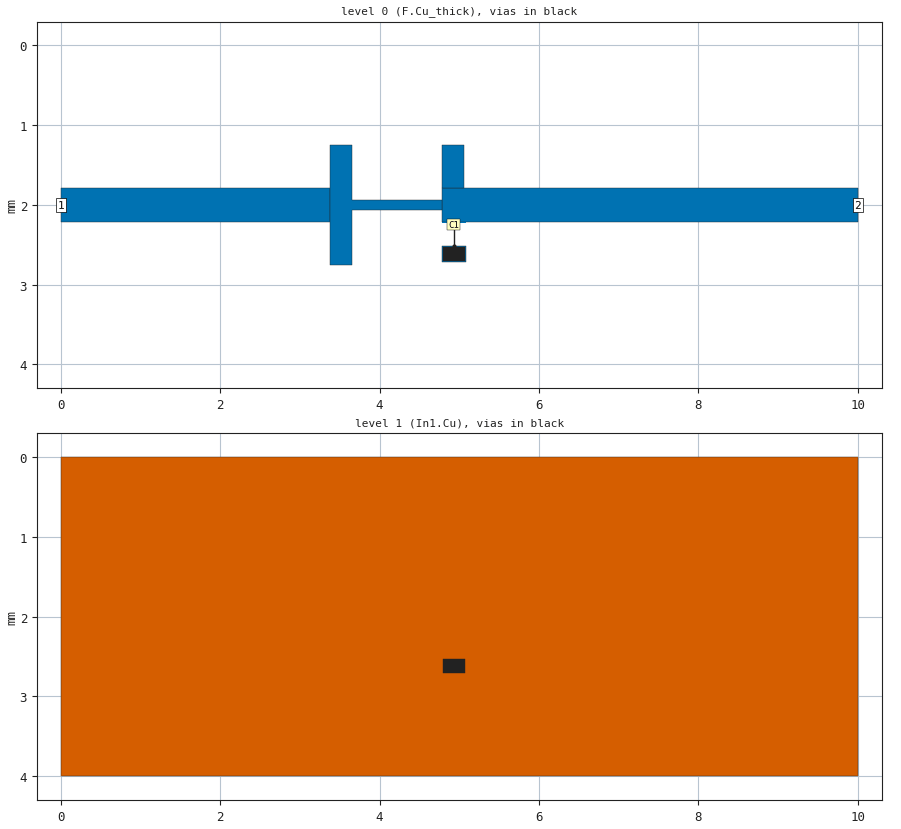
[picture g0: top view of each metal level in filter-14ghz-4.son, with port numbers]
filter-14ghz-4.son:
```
FTYP SONPROJ 19 ! Sonnet Project File
VER 18.56
HEADER
LIC antikernel2.1.52448
DAT 05/25/2023 14:36:34
BUILT_BY_CREATED xgeom 18.54 09/23/2022 20:17:08
BUILT_BY_SAVED sonnet 18.56
MDATE 05/25/2023 14:26:51
HDATE 05/25/2023 14:26:51
ANN Created by dxfgeo, Sonnet Software Inc.
END HEADER
DIM
ANG DEG
CAP FF
CON /OH
FREQ GHZ
IND PH
LNG MM
RES OH
END DIM
CONTROL
VARSWP
OPTIONS  -dj
SPEED 0
CACHE_ABS 2
Q_ACC N
END CONTROL
GEO
DRP1 LEFT FIX 3
DRP1 RIGHT FIX 3
TMET "Free Space" 0 FREESPACE 376.7303136 0 0 0
BMET "Free Space" 0 FREESPACE 376.7303136 0 0 0
MET "Copper_1oz+plated_thick_up" 1 TMM 58000000 0.5 0.0432 2
MET "Copper_1oz+plated_thin" 4 NOR 58000000 0.5 0.0432 
MET "Copper_0.5oz_thin" 2 NOR 58000000 0.5 0.0175 
MET "Copper_1oz+plated_thick_down" 3 TMM 58000000 0.5 0.0432 2 CDVY TDWN
MET "Copper 35um" 1 VOL 58000000 0.035
BOX 4 10 4 2000 640 20 0
      10 1 1 0 0 0 0 "Air"
      0.2021 3.61 1 0.0092 0 0 0 "Isola_FR408HR"
      1.1938 3.61 1 0.0092 0 0 0 "Isola_FR408HR"
      0.2021 3.61 1 0.0092 0 0 0 "Isola_FR408HR"
      10 1 1 0 0 0 0 "Air"
TECHLAY VIA Via1 L3D0 -7 -65534 CAD Via1 drawing 
VIA POLYGON
0 0 4 N 486 1 1 100 100 0 0 0 Y
TOLEVEL 3 RING NOCOVERS
END
END
TECHLAY METAL F.Cu_thick L1D0 -1 -65534 CAD F.Cu drawing 
0 0 0 N 299 1 1 100 100 0 0 0 Y
END
END
TECHLAY METAL F.Cu_thin <UNSPECIFIED> -2 -65534 CAD F.Cu_thin drawing 
0 0 1 N 303 1 1 100 100 0 0 0 Y
END
END
TECHLAY METAL In1.Cu L2D0 -3 -65534 CAD In1.Cu drawing 
1 0 2 N 306 1 1 100 100 0 0 0 Y
END
END
TECHLAY METAL In2.Cu <UNSPECIFIED> -4 -65534 CAD In2.Cu drawing 
2 0 2 N 309 1 1 100 100 0 0 0 Y
END
END
TECHLAY METAL B.Cu_thick <UNSPECIFIED> -5 -65534 CAD B.Cu drawing 
3 0 3 N 312 1 1 100 100 0 0 0 Y
END
END
TECHLAY METAL B.Cu_thin <UNSPECIFIED> -6 -65534 CAD B.Cu_thin drawing 
3 0 1 N 314 1 1 100 100 0 0 0 Y
END
END
DIM STD YDIR 1
POS 0.2338271224 0.04310021686
NOM 0.125
REF1 POLY 436 1
2
REF2 POLY 436 1
1
END
DIM STD XDIR 1
POS 1.000643168 -0.0988658826
NOM 1.12
REF1 POLY 436 1
3
REF2 POLY 436 1
2
END
DIM STD XDIR 1
POS 0.228016479 -0.07618273861
NOM 0.28
REF1 POLY 436 1
5
REF2 POLY 436 1
4
END
DIM STD YDIR 1
POS -0.204806995 1.322702729
NOM 1.5
REF1 POLY 436 1
5
REF2 POLY 436 1
6
END
LORGN 0 4 U 
POR1 BOX
POLY 396 1
3
1 50 0 0 0 0 2 
POR1 BOX
POLY 399 1
1
2 50 0 0 0 10 2 
SMD 0 "C1"
ID 447
GNDREF AUTO
SBOX 4.855 5.005 2.2875 2.4375
PBSHW N
LPOS 4.93 2.2875
TYPE SPARAM 1
SMDP 0 4.93 2.5125 B 3 1 
EXSMDP
GNDREF AUTO
TERMW FEED
END EXSMDP
SMDP 0 4.93 2.225 T 4 2 
EXSMDP
GNDREF AUTO
TERMW FEED
END EXSMDP
END
NUM 8
VIA POLYGON
0 5 4 N 443 1 1 100 100 0 0 0 Y
TOLEVEL 3 RING NOCOVERS
TLAYNAM Via1 INH
4.79 2.525
5.07 2.525
5.07 2.7
4.79 2.7
4.79 2.525
END
0 5 0 N 396 1 1 100 100 0 0 0 Y
TLAYNAM F.Cu_thick INH
0 1.7875
3.38 1.7875
3.38 2.2125
0 2.2125
0 1.7875
END
0 5 0 N 399 1 1 100 100 0 0 0 Y
TLAYNAM F.Cu_thick INH
4.78 1.7875
10 1.7875
10 2.2125
4.78 2.2125
4.78 1.7875
END
0 9 0 N 436 1 1 100 100 0 0 0 Y
TLAYNAM F.Cu_thick INH
3.66 2.0625
4.78 2.0625
4.78 1.9375
3.66 1.9375
3.66 1.25
3.38 1.25
3.38 2.75
3.66 2.75
3.66 2.0625
END
0 5 0 N 446 1 1 100 100 0 0 0 Y
TLAYNAM F.Cu_thick INH
4.78 2.5125
5.08 2.5125
5.08 2.7125
4.78 2.7125
4.78 2.5125
END
0 5 0 N 452 1 1 100 100 0 0 0 Y
TLAYNAM F.Cu_thick INH
4.78 2.2125
5.08 2.2125
5.08 2.225
4.78 2.225
4.78 2.2125
END
0 5 0 N 498 1 1 100 100 0 0 0 Y
TLAYNAM F.Cu_thick INH
4.78 1.25
5.06 1.25
5.06 1.7875
4.78 1.7875
4.78 1.25
END
1 5 2 N 133 1 1 100 100 0 0 0 Y
TLAYNAM In1.Cu INH
0 0
10 0
10 4
0 4
0 0
END
END GEO
OPT
MAX 100
END OPT
VARSWP
ENABLED Y
FREQ Y AY ABS_ENTRY 0.1 20.0 -1 300 
END
END VARSWP
SMDFILES
1 "../../../../../../ceph/bulk/datasheets/Kemet/HiQ-CBR/Commercial-0201/KMT_CBR02_0p2pF_20milRogers4003C.s2p"
END SMDFILES
```
